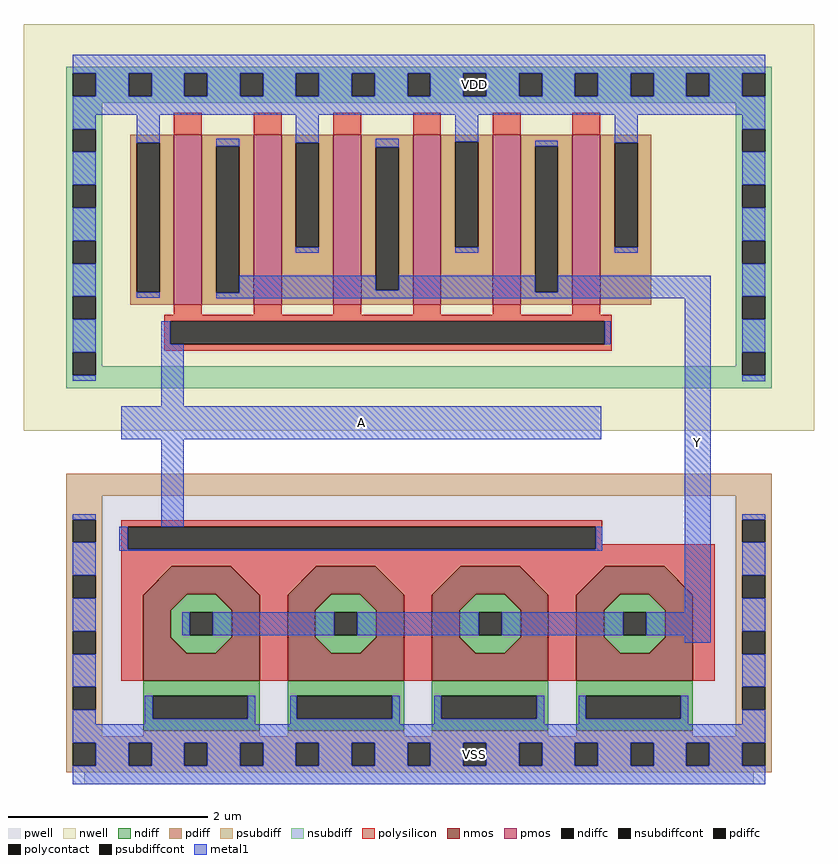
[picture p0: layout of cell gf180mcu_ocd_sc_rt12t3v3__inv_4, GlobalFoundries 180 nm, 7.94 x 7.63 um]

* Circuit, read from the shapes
.subckt gf180mcu_ocd_sc_rt12t3v3__inv_4 VDD VSS Y A
XM1 Y A VSS VSS nfet_03v3 w=1.785u l=0.5273u
XM2 Y A VSS VSS nfet_03v3 w=1.785u l=0.5304u
XM3 Y A VSS VSS nfet_03v3 w=1.785u l=0.5326u
XM4 Y A VSS VSS nfet_03v3 w=1.785u l=0.5283u
XM5 Y A VDD VDD pfet_03v3 w=1.71u l=0.28u m=6
.ends

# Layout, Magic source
magic
tech gf180mcuD
magscale 1 10
<< nwell >>
rect -122 649 1466 1466
<< pwell >>
rect -36 -36 1380 563
rect 0 -60 1344 -36
<< nmos >>
tri 118 319 176 377 se
rect 176 321 294 377
rect 176 319 204 321
tri 204 319 206 321 nw
tri 264 319 266 321 ne
rect 266 319 294 321
tri 294 319 352 377 sw
rect 118 203 174 319
tri 174 289 204 319 nw
tri 266 289 296 319 ne
tri 174 203 206 235 sw
tri 264 203 296 235 se
rect 296 203 352 319
rect 118 147 352 203
tri 408 319 466 377 se
rect 466 321 584 377
rect 466 319 494 321
tri 494 319 496 321 nw
tri 554 319 556 321 ne
rect 556 319 584 321
tri 584 319 642 377 sw
rect 408 203 464 319
tri 464 289 494 319 nw
tri 556 289 586 319 ne
tri 464 203 496 235 sw
tri 554 203 586 235 se
rect 586 203 642 319
rect 408 147 642 203
tri 698 319 756 377 se
rect 756 321 874 377
rect 756 319 784 321
tri 784 319 786 321 nw
tri 844 319 846 321 ne
rect 846 319 874 321
tri 874 319 932 377 sw
rect 698 203 754 319
tri 754 289 784 319 nw
tri 846 289 876 319 ne
tri 754 203 786 235 sw
tri 844 203 876 235 se
rect 876 203 932 319
rect 698 147 932 203
tri 988 319 1046 377 se
rect 1046 321 1164 377
rect 1046 319 1074 321
tri 1074 319 1076 321 nw
tri 1134 319 1136 321 ne
rect 1136 319 1164 321
tri 1164 319 1222 377 sw
rect 988 203 1044 319
tri 1044 289 1074 319 nw
tri 1136 289 1166 319 ne
tri 1044 203 1076 235 sw
tri 1134 203 1166 235 se
rect 1166 203 1222 319
rect 988 147 1222 203
<< pmos >>
rect 180 902 236 1244
rect 340 902 396 1244
rect 500 902 556 1244
rect 660 902 716 1244
rect 820 902 876 1244
rect 980 902 1036 1244
<< ndiff >>
tri 204 319 206 321 se
rect 206 319 264 321
tri 264 319 266 321 sw
tri 174 289 204 319 se
rect 204 289 266 319
tri 266 289 296 319 sw
rect 174 285 296 289
rect 174 239 212 285
rect 258 239 296 285
rect 174 235 296 239
tri 174 203 206 235 ne
rect 206 203 264 235
tri 264 203 296 235 nw
tri 494 319 496 321 se
rect 496 319 554 321
tri 554 319 556 321 sw
tri 464 289 494 319 se
rect 494 289 556 319
tri 556 289 586 319 sw
rect 464 285 586 289
rect 464 239 502 285
rect 548 239 586 285
rect 464 235 586 239
tri 464 203 496 235 ne
rect 496 203 554 235
tri 554 203 586 235 nw
tri 784 319 786 321 se
rect 786 319 844 321
tri 844 319 846 321 sw
tri 754 289 784 319 se
rect 784 289 846 319
tri 846 289 876 319 sw
rect 754 285 876 289
rect 754 239 792 285
rect 838 239 876 285
rect 754 235 876 239
tri 754 203 786 235 ne
rect 786 203 844 235
tri 844 203 876 235 nw
tri 1074 319 1076 321 se
rect 1076 319 1134 321
tri 1134 319 1136 321 sw
tri 1044 289 1074 319 se
rect 1074 289 1136 319
tri 1136 289 1166 319 sw
rect 1044 285 1166 289
rect 1044 239 1082 285
rect 1128 239 1166 285
rect 1044 235 1166 239
tri 1044 203 1076 235 ne
rect 1076 203 1134 235
tri 1134 203 1166 235 nw
rect 118 117 352 147
rect 118 71 137 117
rect 328 71 352 117
rect 118 47 352 71
rect 408 117 642 147
rect 408 71 427 117
rect 618 71 642 117
rect 408 47 642 71
rect 698 117 932 147
rect 698 71 717 117
rect 908 71 932 117
rect 698 47 932 71
rect 988 117 1222 147
rect 988 71 1007 117
rect 1198 71 1222 117
rect 988 47 1222 71
<< pdiff >>
rect 92 1228 180 1244
rect 92 927 105 1228
rect 151 927 180 1228
rect 92 902 180 927
rect 236 1221 340 1244
rect 236 926 265 1221
rect 311 926 340 1221
rect 236 902 340 926
rect 396 1228 500 1244
rect 396 1018 425 1228
rect 471 1018 500 1228
rect 396 902 500 1018
rect 556 1219 660 1244
rect 556 931 585 1219
rect 631 931 660 1219
rect 556 902 660 931
rect 716 1230 820 1244
rect 716 1018 745 1230
rect 791 1018 820 1230
rect 716 902 820 1018
rect 876 1221 980 1244
rect 876 927 905 1221
rect 951 927 980 1221
rect 876 902 980 927
rect 1036 1228 1138 1244
rect 1036 1018 1065 1228
rect 1111 1018 1138 1228
rect 1036 902 1138 1018
<< ndiffc >>
rect 212 239 258 285
rect 502 239 548 285
rect 792 239 838 285
rect 1082 239 1128 285
rect 137 71 328 117
rect 427 71 618 117
rect 717 71 908 117
rect 1007 71 1198 117
<< pdiffc >>
rect 105 927 151 1228
rect 265 926 311 1221
rect 425 1018 471 1228
rect 585 931 631 1219
rect 745 1018 791 1230
rect 905 927 951 1221
rect 1065 1018 1111 1228
<< psubdiff >>
rect -36 519 1380 563
rect -36 471 36 519
rect -36 425 -23 471
rect 23 425 36 471
rect 1308 471 1380 519
rect -36 359 36 425
rect -36 313 -23 359
rect 23 313 36 359
rect -36 247 36 313
rect -36 201 -23 247
rect 23 201 36 247
rect -36 135 36 201
rect 1308 425 1321 471
rect 1367 425 1380 471
rect 1308 359 1380 425
rect 1308 313 1321 359
rect 1367 313 1380 359
rect 1308 247 1380 313
rect 1308 201 1321 247
rect 1367 201 1380 247
rect -36 89 -23 135
rect 23 89 36 135
rect -36 36 36 89
rect 118 36 352 47
rect 408 36 642 47
rect 698 36 932 47
rect 988 36 1222 47
rect 1308 135 1380 201
rect 1308 89 1321 135
rect 1367 89 1380 135
rect 1308 36 1380 89
rect -36 23 1380 36
rect -36 -23 -23 23
rect 23 -23 89 23
rect 135 -23 201 23
rect 247 -23 313 23
rect 359 -23 425 23
rect 471 -23 537 23
rect 583 -23 649 23
rect 695 -23 761 23
rect 807 -23 873 23
rect 919 -23 985 23
rect 1031 -23 1097 23
rect 1143 -23 1209 23
rect 1255 -23 1321 23
rect 1367 -23 1380 23
rect -36 -36 1380 -23
<< nsubdiff >>
rect -36 1367 1380 1380
rect -36 1321 -23 1367
rect 23 1321 89 1367
rect 135 1321 201 1367
rect 247 1321 313 1367
rect 359 1321 425 1367
rect 471 1321 537 1367
rect 583 1321 649 1367
rect 695 1321 761 1367
rect 807 1321 873 1367
rect 919 1321 985 1367
rect 1031 1321 1097 1367
rect 1143 1321 1209 1367
rect 1255 1321 1321 1367
rect 1367 1321 1380 1367
rect -36 1308 1380 1321
rect -36 1255 36 1308
rect -36 1209 -23 1255
rect 23 1209 36 1255
rect 1308 1255 1380 1308
rect -36 1143 36 1209
rect -36 1097 -23 1143
rect 23 1097 36 1143
rect -36 1031 36 1097
rect -36 985 -23 1031
rect 23 985 36 1031
rect -36 919 36 985
rect -36 873 -23 919
rect 23 873 36 919
rect 1308 1209 1321 1255
rect 1367 1209 1380 1255
rect 1308 1143 1380 1209
rect 1308 1097 1321 1143
rect 1367 1097 1380 1143
rect 1308 1031 1380 1097
rect 1308 985 1321 1031
rect 1367 985 1380 1031
rect 1308 919 1380 985
rect -36 807 36 873
rect 1308 873 1321 919
rect 1367 873 1380 919
rect -36 761 -23 807
rect 23 779 36 807
rect 1308 807 1380 873
rect 1308 779 1321 807
rect 23 761 1321 779
rect 1367 761 1380 807
rect -36 735 1380 761
<< psubdiffcont >>
rect -23 425 23 471
rect -23 313 23 359
rect -23 201 23 247
rect 1321 425 1367 471
rect 1321 313 1367 359
rect 1321 201 1367 247
rect -23 89 23 135
rect 1321 89 1367 135
rect -23 -23 23 23
rect 89 -23 135 23
rect 201 -23 247 23
rect 313 -23 359 23
rect 425 -23 471 23
rect 537 -23 583 23
rect 649 -23 695 23
rect 761 -23 807 23
rect 873 -23 919 23
rect 985 -23 1031 23
rect 1097 -23 1143 23
rect 1209 -23 1255 23
rect 1321 -23 1367 23
<< nsubdiffcont >>
rect -23 1321 23 1367
rect 89 1321 135 1367
rect 201 1321 247 1367
rect 313 1321 359 1367
rect 425 1321 471 1367
rect 537 1321 583 1367
rect 649 1321 695 1367
rect 761 1321 807 1367
rect 873 1321 919 1367
rect 985 1321 1031 1367
rect 1097 1321 1143 1367
rect 1209 1321 1255 1367
rect 1321 1321 1367 1367
rect -23 1209 23 1255
rect -23 1097 23 1143
rect -23 985 23 1031
rect -23 873 23 919
rect 1321 1209 1367 1255
rect 1321 1097 1367 1143
rect 1321 985 1367 1031
rect 1321 873 1367 919
rect -23 761 23 807
rect 1321 761 1367 807
<< polysilicon >>
rect 180 1244 236 1288
rect 340 1244 396 1288
rect 500 1244 556 1288
rect 660 1244 716 1288
rect 820 1244 876 1288
rect 980 1244 1036 1288
rect 180 882 236 902
rect 340 882 396 902
rect 500 882 556 902
rect 660 882 716 902
rect 820 882 876 902
rect 980 882 1036 902
rect 160 869 1059 882
rect 160 823 173 869
rect 1045 823 1059 869
rect 160 810 1059 823
rect 74 457 1040 470
rect 74 411 87 457
rect 1027 421 1040 457
rect 1027 411 1266 421
rect 74 377 1266 411
rect 74 147 118 377
tri 118 319 176 377 nw
tri 294 319 352 377 ne
rect 352 147 408 377
tri 408 319 466 377 nw
tri 584 319 642 377 ne
rect 642 147 698 377
tri 698 319 756 377 nw
tri 874 319 932 377 ne
rect 932 147 988 377
tri 988 319 1046 377 nw
tri 1164 319 1222 377 ne
rect 1222 147 1266 377
<< polycontact >>
rect 173 823 1045 869
rect 87 411 1027 457
<< metal1 >>
rect -23 1367 1367 1404
rect 23 1321 89 1367
rect 135 1321 201 1367
rect 247 1321 313 1367
rect 359 1321 425 1367
rect 471 1321 537 1367
rect 583 1321 649 1367
rect 695 1321 761 1367
rect 807 1321 873 1367
rect 919 1321 985 1367
rect 1031 1321 1097 1367
rect 1143 1321 1209 1367
rect 1255 1321 1321 1367
rect -23 1284 1367 1321
rect -23 1255 23 1284
rect -23 1143 23 1209
rect -23 1031 23 1097
rect -23 919 23 985
rect 105 1228 151 1284
rect 105 916 151 927
rect 265 1221 311 1236
rect 425 1228 471 1284
rect 425 1007 471 1018
rect 585 1219 631 1236
rect 311 931 585 961
rect 745 1230 791 1284
rect 745 1007 791 1018
rect 905 1221 951 1232
rect 631 931 905 961
rect 311 927 905 931
rect 1065 1228 1111 1284
rect 1065 1007 1111 1018
rect 1321 1255 1367 1284
rect 1321 1143 1367 1209
rect 1321 1031 1367 1097
rect 951 927 1258 961
rect 311 926 1258 927
rect 265 915 1258 926
rect -23 807 23 873
rect -23 750 23 761
rect 154 823 173 869
rect 1045 823 1057 869
rect 154 698 200 823
rect 74 632 1038 698
rect -23 471 23 482
rect 154 457 200 632
rect -23 359 23 425
rect 70 411 87 457
rect 1027 411 1040 457
rect 70 408 1040 411
rect -23 247 23 313
rect 1206 285 1258 915
rect 1321 919 1367 985
rect 1321 807 1367 873
rect 1321 749 1367 761
rect 197 239 212 285
rect 258 239 502 285
rect 548 239 792 285
rect 838 239 1082 285
rect 1128 239 1258 285
rect 1206 224 1258 239
rect 1321 471 1367 482
rect 1321 359 1367 425
rect 1321 247 1367 313
rect -23 135 23 201
rect 1321 135 1367 201
rect -23 60 23 89
rect 121 71 137 117
rect 328 71 343 117
rect 121 60 343 71
rect 413 71 427 117
rect 618 71 633 117
rect 413 60 633 71
rect 703 71 717 117
rect 908 71 923 117
rect 703 60 923 71
rect 993 71 1007 117
rect 1198 71 1213 117
rect 993 60 1213 71
rect 1321 60 1367 89
rect -23 23 1367 60
rect 23 -23 89 23
rect 135 -23 201 23
rect 247 -23 313 23
rect 359 -23 425 23
rect 471 -23 537 23
rect 583 -23 649 23
rect 695 -23 761 23
rect 807 -23 873 23
rect 919 -23 985 23
rect 1031 -23 1097 23
rect 1143 -23 1209 23
rect 1255 -23 1321 23
rect -23 -60 1367 -23
<< labels >>
flabel metal1 s 0 -60 1568 60 0 FreeSans 400 0 0 0 VSS
port 4 nsew ground bidirectional abutment
flabel metal1 s 1206 224 1258 1028 0 FreeSans 320 0 0 0 Y
port 8 nsew
flabel metal1 s 0 1284 1568 1404 0 FreeSans 400 0 0 0 VDD
port 1 nsew power bidirectional abutment
flabel metal1 s 74 632 1038 698 0 FreeSans 320 0 0 0 A
port 10 nsew
<< properties >>
string FIXED_BBOX 0 0 1344 1344
<< end >>
